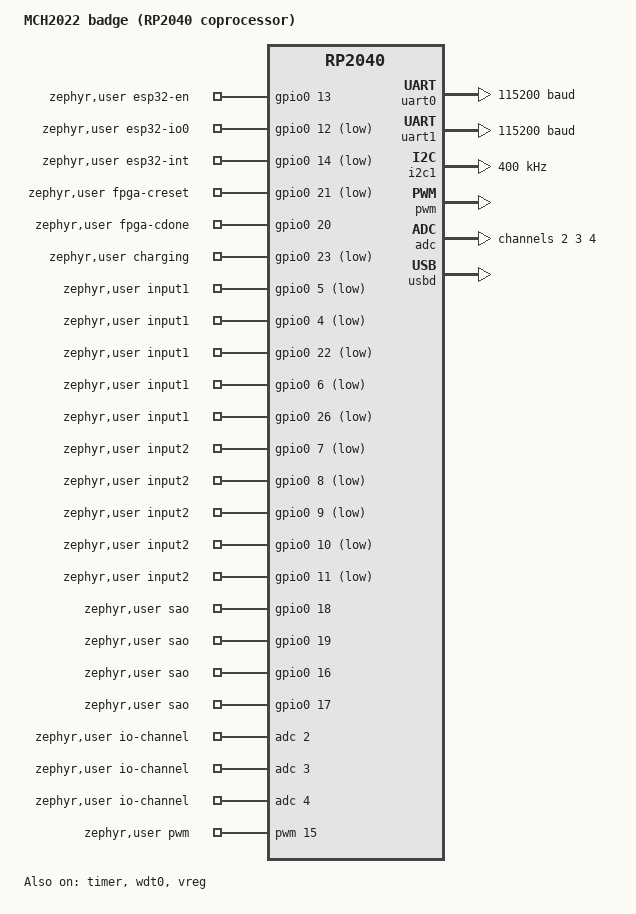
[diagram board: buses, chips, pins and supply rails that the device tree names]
/*
 * SPDX-License-Identifier: GPL-3.0-or-later
 *
 * The RP2040 of the MCH2022 badge: it bridges USB to the ESP32 and the FPGA and holds their
 * reset lines, the buttons, the backlight, the IR LED and the SAO port. Its image sits behind
 * the badge's own bootloader, which stays in flash (doc/index.rst).
 */

/dts-v1/;

#include <freq.h>

#include <raspberrypi/rpi_pico/rp2040.dtsi>
#include <zephyr/dt-bindings/adc/adc.h>
#include <zephyr/dt-bindings/gpio/gpio.h>
#include <zephyr/dt-bindings/i2c/i2c.h>
#include <zephyr/dt-bindings/pwm/pwm.h>
#include "mch2022_rp2040-pinctrl.dtsi"

/ {
	model = "MCH2022 badge (RP2040 coprocessor)";
	compatible = "badgeteam,mch2022-rp2040-board";

	chosen {
		zephyr,sram = &sram0;
		zephyr,flash = &flash0;
		zephyr,flash-controller = &ssi;
		zephyr,code-partition = &code_partition;
	};

	aliases {
		watchdog0 = &wdt0;
	};

	zephyr,user {
		esp32-en-gpios = <&gpio0 13 GPIO_ACTIVE_HIGH>;
		esp32-io0-gpios = <&gpio0 12 (GPIO_OPEN_DRAIN | GPIO_ACTIVE_LOW)>;
		/* Low: read the input registers. */
		esp32-int-gpios = <&gpio0 14 (GPIO_OPEN_DRAIN | GPIO_ACTIVE_LOW)>;
		fpga-creset-gpios = <&gpio0 21 GPIO_ACTIVE_LOW>;
		fpga-cdone-gpios = <&gpio0 20 GPIO_ACTIVE_HIGH>;
		charging-gpios = <&gpio0 23 (GPIO_PULL_UP | GPIO_ACTIVE_LOW)>;
		/* In the order of the register bits: HOME, MENU, START, ACCEPT, BACK. */
		input1-gpios = <&gpio0 5 (GPIO_PULL_UP | GPIO_ACTIVE_LOW)>,
			       <&gpio0 4 (GPIO_PULL_UP | GPIO_ACTIVE_LOW)>,
			       <&gpio0 22 (GPIO_PULL_UP | GPIO_ACTIVE_LOW)>,
			       <&gpio0 6 (GPIO_PULL_UP | GPIO_ACTIVE_LOW)>,
			       <&gpio0 26 (GPIO_PULL_UP | GPIO_ACTIVE_LOW)>;
		/* The joystick's A to E. SELECT is on QSPI_CSN, it is not a GPIO. */
		input2-gpios = <&gpio0 7 (GPIO_PULL_UP | GPIO_ACTIVE_LOW)>,
			       <&gpio0 8 (GPIO_PULL_UP | GPIO_ACTIVE_LOW)>,
			       <&gpio0 9 (GPIO_PULL_UP | GPIO_ACTIVE_LOW)>,
			       <&gpio0 10 (GPIO_PULL_UP | GPIO_ACTIVE_LOW)>,
			       <&gpio0 11 (GPIO_PULL_UP | GPIO_ACTIVE_LOW)>;
		/* The SAO port's IO0, IO1 and the test points' PROTO_0, PROTO_1: register bits 0..3. */
		sao-gpios = <&gpio0 18 GPIO_ACTIVE_HIGH>,
			    <&gpio0 19 GPIO_ACTIVE_HIGH>,
			    <&gpio0 16 GPIO_ACTIVE_HIGH>,
			    <&gpio0 17 GPIO_ACTIVE_HIGH>;
		pwms = <&pwm 15 PWM_HZ(200) PWM_POLARITY_NORMAL>;
		/* VUSB, VBAT, the die's temperature. */
		io-channels = <&adc 2>, <&adc 3>, <&adc 4>;
	};
};

&xosc {
	/* As the stock firmware: some badges' crystals start slowly. */
	startup-delay-multiplier = <64>;
};

&flash0 {
	/* A W25Q16JV. */
	reg = <0x10000000 DT_SIZE_M(2)>;
	ranges = <0x0 0x10000000 DT_SIZE_M(2)>;

	partitions {
		ranges;
		#address-cells = <1>;
		#size-cells = <1>;

		/* The badge's bootloader: never written here (doc/index.rst). */
		badge_bootloader: partition@0 {
			compatible = "zephyr,mapped-partition";
			label = "badge-bootloader";
			reg = <0x0 0x8000>;
			read-only;
		};

		/* {vector table, size, CRC-32} of the image, read by that bootloader. */
		image_header: partition@8000 {
			compatible = "zephyr,mapped-partition";
			label = "image-header";
			reg = <0x8000 0x8000>;
			read-only;
		};

		code_partition: partition@10000 {
			compatible = "zephyr,mapped-partition";
			label = "code-partition";
			reg = <0x10000 (DT_SIZE_M(2) - 0x10000)>;
			read-only;
		};
	};
};

&gpio0 {
	status = "okay";
};

&uart0 {
	current-speed = <115200>;
	status = "okay";
	pinctrl-0 = <&uart0_default>;
	pinctrl-names = "default";
};

&uart1 {
	current-speed = <115200>;
	status = "okay";
	pinctrl-0 = <&uart1_default>;
	pinctrl-names = "default";
};

&i2c1 {
	clock-frequency = <I2C_BITRATE_FAST>;
	status = "okay";
	pinctrl-0 = <&i2c1_default>;
	pinctrl-names = "default";
	/* As the Pico SDK's I2C. */
	i2c-sda-hold-time-ns = <300>;
};

&pwm {
	status = "okay";
	pinctrl-0 = <&pwm_7b_default>;
	pinctrl-names = "default";
	/* 125 MHz / 153 / 4096 is about 200 Hz, as the stock firmware's. */
	divider-int-7 = <153>;
};

&adc {
	status = "okay";
	pinctrl-0 = <&adc_default>;
	pinctrl-names = "default";
	#address-cells = <1>;
	#size-cells = <0>;

	channel@2 {
		reg = <2>;
		zephyr,gain = "ADC_GAIN_1";
		zephyr,reference = "ADC_REF_INTERNAL";
		zephyr,acquisition-time = <ADC_ACQ_TIME_DEFAULT>;
		zephyr,resolution = <12>;
	};

	channel@3 {
		reg = <3>;
		zephyr,gain = "ADC_GAIN_1";
		zephyr,reference = "ADC_REF_INTERNAL";
		zephyr,acquisition-time = <ADC_ACQ_TIME_DEFAULT>;
		zephyr,resolution = <12>;
	};

	channel@4 {
		reg = <4>;
		zephyr,gain = "ADC_GAIN_1";
		zephyr,reference = "ADC_REF_INTERNAL";
		zephyr,acquisition-time = <ADC_ACQ_TIME_DEFAULT>;
		zephyr,resolution = <12>;
	};
};

&timer {
	status = "okay";
};

&wdt0 {
	status = "okay";
};

&vreg {
	status = "okay";
};

&pio0 {
	status = "okay";
};

&pio1 {
	status = "okay";
};

/* No pinctrl: VBUS detect is forced, the badge's bus power is the RP2040's own. */
zephyr_udc0: &usbd {
	status = "okay";
};
